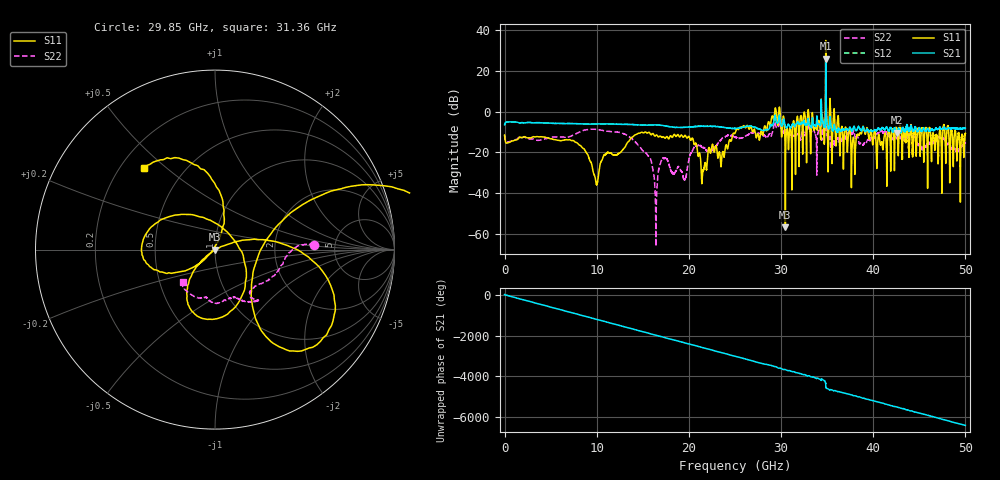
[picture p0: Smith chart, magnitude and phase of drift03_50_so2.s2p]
!Created with skrf (http://scikit-rf.org).
# Hz S RI R 50.0
!freq ReS11 ImS11 ReS21 ImS21 ReS12 ImS12 ReS22 ImS22
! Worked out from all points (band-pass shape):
!   10001 points, 300 kHz to 50 GHz, reference 50 ohm
!   highest |S21| = 26.05 dB at 34.85 GHz (marker M1); lowest = -10.4 dB at 42.56 GHz (marker M2)
!   |S21| within 3 dB of the highest: 34.84333 GHz to 34.84617 GHz (2.845 MHz wide, 0.00817 % of centre)
!   lowest |S11| = -56.7 dB at 30.47 GHz (marker M3), VSWR 1.00, Z = 49.9 - j0.0629 ohm
!   |S11| at or under -10 dB: start of sweep to 15.23 GHz; 15.32 GHz to 25.05 GHz (9.737 GHz wide, 48.2 % of centre); 40.22 GHz to 41.62 GHz (1.396 GHz wide, 3.41 % of centre) (the widest 3 of 48)
!   |S22| runs from -65.9 to 17.1 dB; largest |S21 - S12| = 3
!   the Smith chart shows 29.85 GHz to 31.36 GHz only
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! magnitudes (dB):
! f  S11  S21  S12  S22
! 300 kHz  -11.4  -6.5  -6.5  -11.4
! 8.335 GHz  -17.1  -6.0  -6.0  -9.6
! 9.955 GHz  -35.7  -6.1  -6.1  -8.7
! 11 GHz  -20.8  -6.0  -6.0  -9.5
! 13.96 GHz  -12.2  -6.4  -6.3  -13.8
! 16.36 GHz  -11.9  -6.5  -6.5  -42.2
! 16.67 GHz  -12.4  -6.5  -6.5  -29.9
! 17.34 GHz  -12.7  -6.9  -6.9  -22.9
! 19.55 GHz  -11.7  -7.7  -7.7  -33.2
! 20.22 GHz  -13.9  -7.5  -7.5  -20.4
! 21.55 GHz  -28.6  -7.2  -7.2  -17.6
! 25 GHz  -10.6  -8.2  -8.2  -12.5
! 29.6 GHz  -5.5  -5.7  -5.9  -7.8
! 30.47 GHz  -56.7  -7.2  -7.2  -9.0
! 33.34 GHz  -3.7  -6.9  -6.7  -9.3
! 34.85 GHz  34.9  26.1  25.8  17.1
! 35.63 GHz  -6.6  -9.2  -9.1  -16.2
! 37.83 GHz  -12.7  -8.3  -8.4  -9.9
! 38.81 GHz  -8.9  -8.2  -8.2  -16.1
! 41.67 GHz  -9.5  -9.4  -9.3  -11.4
! 42.56 GHz  -8.3  -10.4  -10.5  -13.3
! 50 GHz  -10.7  -8.2  -8.2  -15.5
